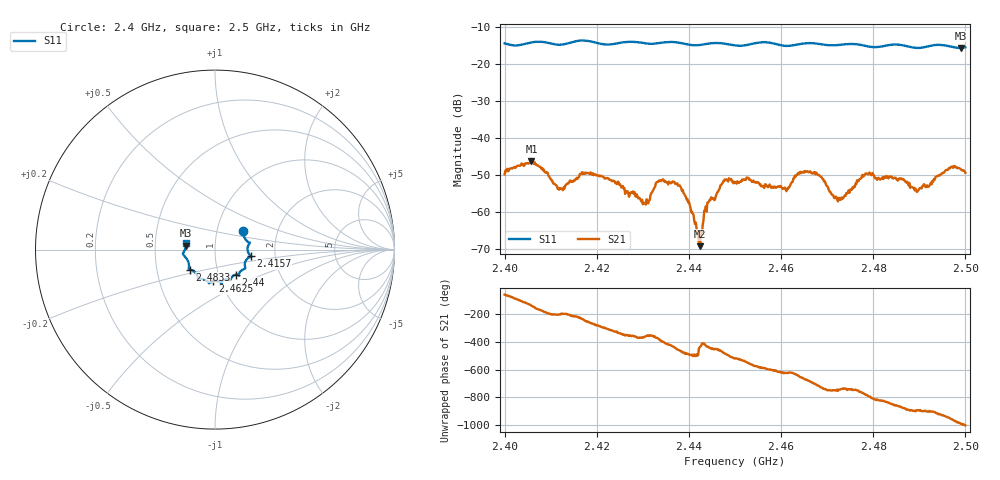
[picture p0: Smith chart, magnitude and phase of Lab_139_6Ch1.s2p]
# Hz S RI R 50
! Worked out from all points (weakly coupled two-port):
!   601 points, 2.4 GHz to 2.5 GHz, reference 50 ohm
!   highest |S21| = -46.28 dB at 2.4058 GHz (marker M1); lowest = -69.2 dB at 2.4423 GHz (marker M2)
!   lowest |S11| = -15.7 dB at 2.499 GHz (marker M3), VSWR 1.39, Z = 36 + j1.56 ohm
!   |S11| at or under -10 dB: start of sweep to end of sweep
!   S12 and S22 are empty: the file has one direction only
!   S11 on the Smith chart (normalised r, x): 2.4 GHz: 1.33, +0.29; 2.4157 GHz: 1.49, -0.12; 2.44 GHz: 1.21, -0.35; 2.4625 GHz: 0.92, -0.34; 2.4833 GHz: 0.74, -0.17; 2.5 GHz: 0.72, +0.06
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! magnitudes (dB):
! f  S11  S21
! 2.4 GHz  -14.5  -49.9
! 2.4058 GHz  -14.2  -46.3
! 2.412 GHz  -14.9  -53.6
! 2.4157 GHz  -13.9  -50.8
! 2.4167 GHz  -13.7  -49.6
! 2.4302 GHz  -14.4  -57.5
! 2.4333 GHz  -14.4  -51.9
! 2.4377 GHz  -14.3  -52.9
! 2.44 GHz  -14.8  -57.3
! 2.4423 GHz  -14.9  -69.2
! 2.4445 GHz  -14.5  -56.7
! 2.4477 GHz  -14.6  -51.7
! 2.45 GHz  -15.0  -52.1
! 2.461 GHz  -15.2  -54.0
! 2.4625 GHz  -15.0  -51.9
! 2.4667 GHz  -14.4  -49.6
! 2.4727 GHz  -14.9  -56.2
! 2.4782 GHz  -15.1  -50.0
! 2.4833 GHz  -15.0  -50.9
! 2.4895 GHz  -15.7  -54.6
! 2.499 GHz  -15.7  -48.4
! 2.5 GHz  -15.6  -49.4
